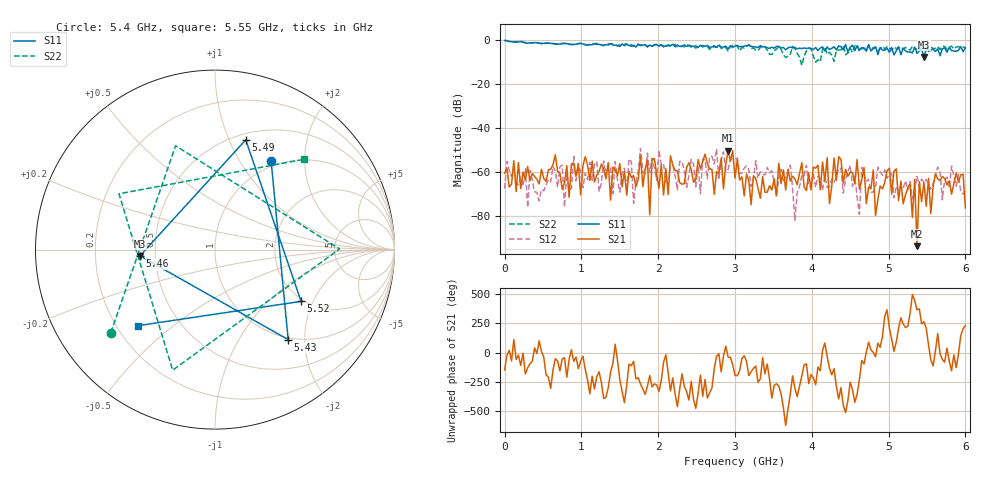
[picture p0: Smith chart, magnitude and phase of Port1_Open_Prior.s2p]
#  HZ  S  DB  R  50.0
! Rohde & Schwarz ZVL13 2Ports - Version 3.20 - 1303.6509k13 SN: 100953
! Date: 2024-10-21 06:09:29
! Data & Calibration Information:
! Trc1:S11(Cal Off) Trc4:S21(Cal Off) Trc2:S12(Cal Off) Trc3:S22(Cal Off)
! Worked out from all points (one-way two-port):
!   201 points, 5 kHz to 6 GHz, reference 50 ohm
!   highest |S21| = -50.32 dB at 2.91 GHz (marker M1); lowest = -94.0 dB at 5.37 GHz (marker M2)
!   lowest |S11| = -7.5 dB at 5.46 GHz (marker M3), VSWR 2.45, Z = 20.5 - j1.73 ohm
!   |S11| at or under -10 dB: nowhere
!   |S22| runs from -11.4 to -0.1 dB; largest |S21 - S12| = 0.0054
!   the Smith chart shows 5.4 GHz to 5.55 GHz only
!   S11 on the Smith chart (normalised r, x): 5.4 GHz: 0.92, +1.38; 5.43 GHz: 0.97, -1.66; 5.46 GHz: 0.41, -0.03; 5.49 GHz: 0.56, +1.15; 5.52 GHz: 1.94, -1.63; 5.55 GHz: 0.28, -0.38
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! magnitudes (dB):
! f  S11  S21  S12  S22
! 5 kHz  0.0  -60.7  -67.7  -0.1
! 1.02 GHz  -1.6  -57.2  -67.4  -1.4
! 1.62 GHz  -2.3  -59.8  -54.2  -2.4
! 1.68 GHz  -2.2  -61.7  -74.5  -2.7
! 1.77 GHz  -2.4  -52.7  -49.3  -2.2
! 2.01 GHz  -2.6  -67.7  -50.2  -2.4
! 2.91 GHz  -3.9  -50.3  -59.0  -4.9
! 3 GHz  -2.6  -62.9  -54.3  -2.0
! 3.72 GHz  -3.0  -64.3  -57.0  -6.3
! 3.78 GHz  -3.2  -63.3  -82.2  -3.7
! 4.02 GHz  -4.2  -57.8  -60.7  -7.2
! 4.8 GHz  -3.7  -59.2  -69.3  -3.7
! 4.83 GHz  -2.9  -79.9  -67.4  -3.1
! 5.01 GHz  -5.4  -58.4  -60.8  -3.4
! 5.37 GHz  -6.0  -94.0  -62.1  -4.0
! 5.4 GHz  -4.7  -64.6  -66.7  -2.6
! 5.43 GHz  -3.8  -73.6  -63.4  -4.2
! 5.46 GHz  -7.5  -64.8  -64.8  -3.2
! 5.49 GHz  -3.9  -75.8  -63.6  -2.9
! 5.52 GHz  -5.0  -63.0  -65.9  -4.2
! 5.55 GHz  -4.4  -79.1  -68.0  -3.0
! 6 GHz  -3.4  -76.5  -68.9  -3.2
